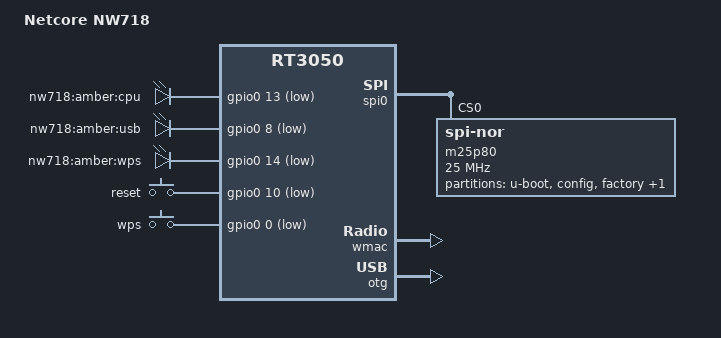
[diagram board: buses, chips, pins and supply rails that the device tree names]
/dts-v1/;

#include "rt3050.dtsi"

/ {
	compatible = "NW718", "ralink,rt3050-soc";
	model = "Netcore NW718";

	gpio-leds {
		compatible = "gpio-leds";

		cpu {
			label = "nw718:amber:cpu";
			gpios = <&gpio0 13 1>;
		};

		usb {
			label = "nw718:amber:usb";
			gpios = <&gpio0 8 1>;
		};

		wps {
			label = "nw718:amber:wps";
			gpios = <&gpio0 14 1>;
		};
	};

	gpio-keys-polled {
		compatible = "gpio-keys-polled";
		#address-cells = <1>;
		#size-cells = <0>;
		poll-interval = <20>;

		reset {
			label = "reset";
			gpios = <&gpio0 10 1>;
			linux,code = <0x198>;
		};

		wps {
			label = "wps";
			gpios = <&gpio0 0 1>;
			linux,code = <0x211>;
		};
	};
};

&spi0 {
	status = "okay";

	m25p80@0 {
		#address-cells = <1>;
		#size-cells = <1>;
		compatible = "jedec,spi-nor";
		reg = <0>;
		linux,modalias = "m25p80", "mx25l3205d";
		spi-max-frequency = <25000000>;

		partition@0 {
			label = "u-boot";
			reg = <0x0 0x30000>;
			read-only;
		};

		partition@30000 {
			label = "config";
			reg = <0x30000 0x20000>;
			read-only;
		};

		factory: partition@50000 {
			label = "factory";
			reg = <0x50000 0x10000>;
			read-only;
		};

		partition@60000 {
			label = "firmware";
			reg = <0x60000 0x3a0000>;
		};
	};
};

&pinctrl {
	state_default: pinctrl0 {
		gpio {
			ralink,group = "i2c", "jtag", "rgmii", "mdio", "uartf";
			ralink,function = "gpio";
		};
	};
};

&ethernet {
	mtd-mac-address = <&factory 0x4>;
};

&esw {
	mediatek,portmap = <0x2f>;
};

&wmac {
	ralink,mtd-eeprom = <&factory 0>;
};

&otg {
	status = "okay";
};
